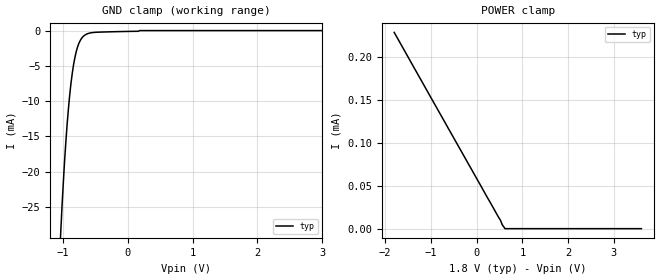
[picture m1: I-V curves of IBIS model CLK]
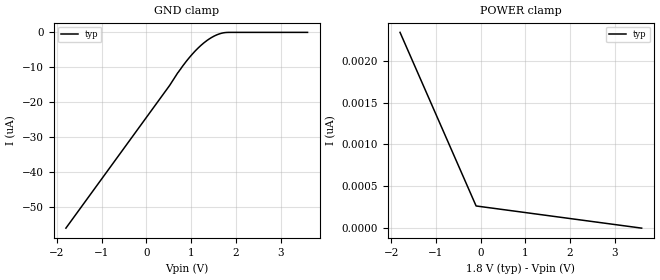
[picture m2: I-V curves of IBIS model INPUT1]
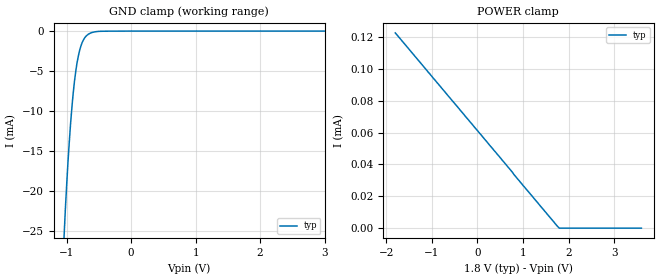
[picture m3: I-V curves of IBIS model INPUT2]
|   This file is an IBIS representation of the   |
|   analog devices   |
|   AD9222-40/50  (valid for all speeds)   |
|=================== Header Section -------------------------------------------|
[IBIS Ver] 3.2
[File Name] ad9222bcp.ibs
[File Rev] 2.0
[Source]   This file originated at Analog Devices. DLK
[Date] 6-18-2007
[Notes] Quality Check Passes IBIS Checker.
[Disclaimer]
|   This IBIS model is provided "AS IS, Where IS, AND WITH NO
|   WARRANTY OF ANY KINND EITHER EXPRESSED OR IMPLIED, INCLUDING
|   BUT NOT LIMITED TO ANY IMPLIED WARRANTIES OF MECHANTABILITY
|   AND FITNESS FOR A PARTICULAR PURPOSE."
|   In no event will Analog Devices be liable for special, collateral,
|   incidental, or consequential damages in connection with or
|   arising out of the use of this IBIS model. Analog Devices reserves
|   the right to make changes to the products and IBIS models without
|   prior notice.
|   [Copyright]   copyright (c)2006 Analog Devices, All rights reserved.
|		Rev. 1.0	4/3/2006	Dale Kaul	Original Release
|		Rev. 2.0	6/18/2007	Rob Reeder
|		Changed referrence of the FCO and DCO pins to OUTPUT1 instead of CLK.
[Component] AD9212
[Manufacturer] Analog Devices
[Package]
| variable   typ   min   max
R_pkg  0.010ohms 0.009ohms 0.011ohms
L_pkg  1.2nH  NA  NA
C_pkg  .3000pF NA  NA
[Pin] signal_name  model_name  R_pin L_pin C_pin
1   AVDD   POWER   NA NA NA
2   VIN+G   NC   NA NA NA
3   VIN-G   NC   NA NA NA
4   AVDD   POWER   NA NA NA
5   VIN-H   NC   NA NA NA
6   VIN+H   NC   NA NA NA
7   AVDD   POWER   NA NA NA
8   AVDD   POWER   NA NA NA
9   CLK-   CLK   NA NA NA
10   CLK+   CLK   NA NA NA
11   AVDD   POWER   NA NA NA
12   AVDD   POWER   NA NA NA
13   DRGND   GND   NA NA NA
14   DRVDD   POWER   NA NA NA
15   D-H   OUTPUT1   NA NA NA
16   D+H   OUTPUT1   NA NA NA
17   D-G   OUTPUT1   NA NA NA
18   D+G   OUTPUT1   NA NA NA
19   D-F   OUTPUT1   NA NA NA
20   D+F   OUTPUT1   NA NA NA
21   D-E   OUTPUT1   NA NA NA
22   D+E   OUTPUT1   NA NA NA
23   DCO-   OUTPUT1   NA NA NA
24   DCO+   OUTPUT1   NA NA NA
25   FCO-   OUTPUT1   NA NA NA
26   FCO+   OUTPUT1   NA NA NA
27   D-D   OUTPUT1   NA NA NA
28   D+D   OUTPUT1   NA NA NA
29   D-C   OUTPUT1   NA NA NA
30   D+C   OUTPUT1   NA NA NA
31   D-B   OUTPUT1   NA NA NA
32   D+B   OUTPUT1   NA NA NA
33   D-A   OUTPUT1   NA NA NA
34   D+A   OUTPUT1   NA NA NA
35   DRVDD   POWER   NA NA NA
36   DRGND   GND   NA NA NA
37   AVDD   POWER   NA NA NA
38   SCLK/DTP   INPUT1   NA NA NA
39   DIO/ODM   IO   NA NA NA
40   CSB   INPUT1   NA NA NA
41   PDWN   INPUT2   NA NA NA
42   AVDD   POWER   NA NA NA
43   VIN+A   NC   NA NA NA
44   VIN-A   NC   NA NA NA
45   AVDD   POWER   NA NA NA
46   VIN-B   NC   NA NA NA
47   VIN+B   NC   NA NA NA
48   AVDD   POWER   NA NA NA
49   VIN+C   NC   NA NA NA
50   VIN-C   NC   NA NA NA
51   AVDD   POWER   NA NA NA
52   VIN-D   NC   NA NA NA
53   VIN+D   NC   NA NA NA
54   RBIAS   INPUT1   NA NA NA
55   SENSE   INPUT3   NA NA NA
56   VREF   NC   NA NA NA
57   REFB   NC   NA NA NA
58   REFT   NC   NA NA NA
59   AVDD   POWER   NA NA NA
60   VIN+E   NC   NA NA NA
61   VIN-E   NC   NA NA NA
62   AVDD   POWER   NA NA NA
63   VIN-F   NC   NA NA NA
64   VIN+F   NC   NA NA NA
| Models and submodels in the file (6): CLK (Input), INPUT1 (Input), INPUT2 (Input), INPUT3 (Input), OUTPUT1 (Output), IO (I/O)
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[model] CLK
Model_type Input
Vinl =0.36
Vinh =1.44
C_comp 2pF NA NA
| variable typ   min max
[Voltage Range]   1.800V   NA NA
[GND Clamp Reference] 0.000V   NA NA
[POWER Clamp Reference] 1.800V NA NA
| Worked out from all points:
|   GND clamp passes 1 mA (typ) near -0.71 V on its own axis
[GND Clamp]
| Voltage   I(typ)   I(min)   I(max)
-1.8V     -300mA     NA         NA
-1.04V    -28.93mA   NA         NA
-980mV    -18.63mA   NA         NA
-960mV    -15.87mA   NA         NA
-920mV    -11.14mA   NA         NA
-880mV    -7.456mA   NA         NA
-840mV    -4.822mA   NA         NA
-780mV    -2.372mA   NA         NA
-720mV    -1.148mA   NA         NA
-660mV    -607.3uA   NA         NA
180mV     0A         NA         NA
3.6V      0A         NA         NA
[POWER Clamp]
| Voltage   I(typ)   I(min)   I(max)
-1.8V     229.2uA    NA         NA
520mV     9.97uA     NA         NA
560mV     4.66uA     NA         NA
620mV     0A         NA         NA
3.6V      0A         NA         NA
[Model] INPUT1   | CSB and Sclk pins
Model_type Input
Vinl =0.36
Vinh =1.44
C_comp 3pF NA NA
| variable typ   min   max
[Voltage Range] 1.800V NA NA
[GND Clamp Reference] 0.000V NA NA
[POWER Clamp Reference] 1.800V NA NA
[GND Clamp]
| Voltage   I(typ)   I(min)   I(max)
-1.8V     -56.2uA    NA         NA
520mV     -15.2uA    NA         NA
700mV     -11.6uA    NA         NA
820mV     -9.49uA    NA         NA
1.04V     -6.03uA    NA         NA
1.28V     -3.05uA    NA         NA
1.54V     -895nA     NA         NA
1.76V     -59.5nA    NA         NA
3.6V      0A         NA         NA
[POWER Clamp]
-1.8V     2.34nA     NA         NA
-100mV    265pA      NA         NA
3.6V      0A         NA         NA
[Model] INPUT2   |  POWERDOWN PIN
Model_type Input
C_comp 3pF NA NA
Vinl =0.36
Vinh =1.44
| variable typ   min   max
[Voltage Range] 1.800V NA NA
[GND Clamp Reference] 0.000V NA NA
[POWER Clamp Reference] 1.800V NA NA
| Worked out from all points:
|   GND clamp passes 1 mA (typ) near -0.73 V on its own axis
[GND Clamp]
| Voltage   I(typ)   I(min)   I(max)
-1.8V     -232mA     NA         NA
-1.04V    -25.51mA   NA         NA
-980mV    -16.33mA   NA         NA
-960mV    -13.87mA   NA         NA
-920mV    -9.604mA   NA         NA
-880mV    -6.299mA   NA         NA
-840mV    -3.979mA   NA         NA
-780mV    -1.87mA    NA         NA
-720mV    -833.7uA   NA         NA
-660mV    -369.2uA   NA         NA
-400mV    -15uA      NA         NA
3.6V      0A         NA         NA
[POWER Clamp]
-1.8V     122.5uA    NA         NA
1V        26.9uA     NA         NA
1.8V      0A         NA         NA
3.6V      0A         NA         NA
